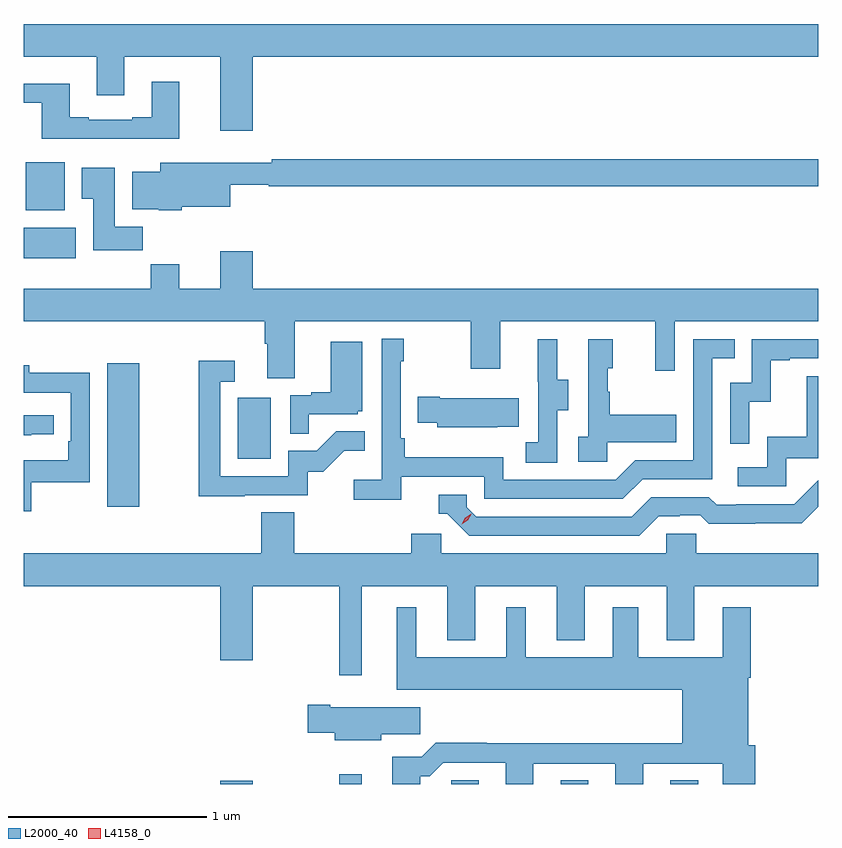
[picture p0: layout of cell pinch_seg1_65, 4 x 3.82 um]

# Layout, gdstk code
import gdstk
lib = gdstk.Library(unit=1e-6, precision=1e-09)
def R(c, l, rs):  # rectangles x0, y0, x1, y1
    for r in rs: c.add(gdstk.rectangle(r[:2], r[2:], *l))
def P(c, l, *ps):  # polygons
    for p in ps: c.add(gdstk.Polygon(p, *l))
L2000_40 = (2000, 40)
L4158_0 = (4158, 0)

pinch_seg1_65 = lib.new_cell('pinch_seg1_65')
R(pinch_seg1_65, L2000_40, [(1040.132,569.384,1040.296,569.401), (1040.731,569.384,1040.845,569.434), (1041.294,569.384,1041.433,569.402), (1041.845,569.384,1041.985,569.402), (1042.397,569.384,1042.537,569.402), (1039.565,570.78,1039.726,571.501), (1040.222,571.02,1040.386,571.327), (1039.143,572.03,1039.405,572.182), (1039.154,572.27,1039.351,572.512)])
P(pinch_seg1_65, L2000_40, [(1040.296,573.044),(1043.143,573.044),(1043.143,573.208),(1039.143,573.208),(1039.143,573.044),(1039.511,573.044),(1039.511,572.85),(1039.651,572.85),(1039.651,573.044),(1040.132,573.044),(1040.132,572.67),(1040.296,572.67)],
  [(1039.927,572.917),(1039.787,572.917),(1039.787,572.74),(1039.691,572.74),(1039.691,572.727),(1039.471,572.727),(1039.471,572.74),(1039.375,572.74),(1039.375,572.908),(1039.143,572.908),(1039.143,572.811),(1039.235,572.811),(1039.235,572.63),(1039.927,572.63)],
  [(1039.938,572.288),(1040.182,572.288),(1040.182,572.4),(1040.378,572.4),(1040.378,572.392),(1043.143,572.392),(1043.143,572.528),(1040.392,572.528),(1040.392,572.509),(1039.832,572.509),(1039.832,572.464),(1039.691,572.464),(1039.691,572.276),(1039.824,572.276),(1039.824,572.27),(1039.938,572.27)],
  [(1039.742,572.188),(1039.603,572.188),(1039.603,572.485),(1039.436,572.485),(1039.436,572.329),(1039.493,572.329),(1039.493,572.07),(1039.742,572.07)],
  [(1040.509,571.712),(1041.394,571.712),(1041.394,571.473),(1041.541,571.473),(1041.541,571.712),(1042.322,571.712),(1042.322,571.464),(1042.419,571.464),(1042.419,571.712),(1043.143,571.712),(1043.143,571.876),(1040.296,571.876),(1040.296,572.065),(1040.132,572.065),(1040.132,571.876),(1039.927,571.876),(1039.927,572),(1039.783,572),(1039.783,571.876),(1039.143,571.876),(1039.143,571.712),(1040.357,571.712),(1040.357,571.6),(1040.369,571.6),(1040.369,571.426),(1040.509,571.426)],
  [(1041.044,570.93),(1041.462,570.93),(1041.462,570.819),(1042.159,570.819),(1042.258,570.918),(1042.608,570.918),(1042.608,571.527),(1042.721,571.527),(1042.721,571.623),(1042.512,571.623),(1042.512,571.014),(1042.221,571.014),(1042.122,570.915),(1041.558,570.915),(1041.558,571.027),(1041.062,571.027),(1041.062,571.123),(1041.042,571.123),(1041.042,571.511),(1041.055,571.511),(1041.055,571.624),(1040.946,571.624),(1040.946,570.916),(1040.805,570.916),(1040.805,570.814),(1041.044,570.814)],
  [(1042.794,571.307),(1042.904,571.307),(1042.904,571.515),(1042.999,571.515),(1042.999,571.527),(1043.143,571.527),(1043.143,571.623),(1042.806,571.623),(1042.806,571.404),(1042.698,571.404),(1042.698,571.095),(1042.794,571.095)],
  [(1042.08,571.103),(1042.427,571.103),(1042.427,571.243),(1042.093,571.243),(1042.093,571.358),(1042.083,571.358),(1042.083,571.476),(1042.108,571.476),(1042.108,571.621),(1041.984,571.621),(1041.984,571.13),(1041.933,571.13),(1041.933,571.005),(1042.08,571.005)],
  [(1041.828,571.264),(1041.883,571.264),(1041.883,571.419),(1041.829,571.419),(1041.829,571.621),(1041.731,571.621),(1041.731,571.407),(1041.732,571.407),(1041.732,571.103),(1041.669,571.103),(1041.669,571),(1041.828,571)],
  [(1040.579,571.245),(1040.826,571.245),(1040.826,571.26),(1040.848,571.26),(1040.848,571.609),(1040.69,571.609),(1040.69,571.354),(1040.591,571.354),(1040.591,571.341),(1040.484,571.341),(1040.484,571.147),(1040.579,571.147)],
  [(1040.255,570.837),(1040.574,570.837),(1040.574,570.954),(1040.65,570.954),(1040.757,571.061),(1040.861,571.061),(1040.861,571.16),(1040.717,571.16),(1040.619,571.062),(1040.475,571.062),(1040.475,570.933),(1040.133,570.933),(1040.133,571.407),(1040.206,571.407),(1040.206,571.513),(1040.025,571.513),(1040.025,570.832),(1040.255,570.832)],
  [(1039.183,570.903),(1039.476,570.903),(1039.476,571.454),(1039.171,571.454),(1039.171,571.492),(1039.143,571.492),(1039.143,571.353),(1039.38,571.353),(1039.38,571.108),(1039.367,571.108),(1039.367,571.012),(1039.143,571.012),(1039.143,570.756),(1039.183,570.756)],
  [(1042.98,571.023),(1043.143,571.023),(1043.143,571.435),(1043.083,571.435),(1043.083,571.132),(1042.884,571.132),(1042.884,570.978),(1042.737,570.978),(1042.737,570.882),(1042.98,570.882)],
  [(1041.527,571.181),(1041.635,571.181),(1041.635,571.324),(1041.238,571.324),(1041.238,571.332),(1041.127,571.332),(1041.127,571.202),(1041.225,571.202),(1041.225,571.178),(1041.527,571.178)],
  [(1039.181,571.143),(1039.294,571.143),(1039.294,571.239),(1039.143,571.239),(1039.143,571.138),(1039.181,571.138)],
  [(1042.339,570.732),(1042.446,570.732),(1042.446,570.735),(1042.549,570.735),(1042.591,570.693),(1042.824,570.693),(1042.824,570.695),(1043.06,570.695),(1043.143,570.778),(1043.143,570.913),(1043.022,570.792),(1042.729,570.792),(1042.729,570.789),(1042.63,570.789),(1042.591,570.828),(1042.302,570.828),(1042.203,570.729),(1041.42,570.729),(1041.372,570.777),(1041.372,570.84),(1041.233,570.84),(1041.233,570.744),(1041.276,570.744),(1041.387,570.633),(1042.24,570.633)],
  [(1041.246,570.642),(1041.095,570.642),(1041.095,570.544),(1040.504,570.544),(1040.504,570.752),(1040.339,570.752),(1040.339,570.544),(1039.143,570.544),(1039.143,570.38),(1040.132,570.38),(1040.132,570.006),(1040.296,570.006),(1040.296,570.38),(1040.731,570.38),(1040.731,569.931),(1040.845,569.931),(1040.845,570.38),(1041.275,570.38),(1041.275,570.107),(1041.415,570.107),(1041.415,570.38),(1041.827,570.38),(1041.827,570.107),(1041.967,570.107),(1041.967,570.38),(1042.379,570.38),(1042.379,570.107),(1042.519,570.107),(1042.519,570.38),(1043.143,570.38),(1043.143,570.544),(1042.527,570.544),(1042.527,570.642),(1042.377,570.642),(1042.377,570.544),(1041.246,570.544)],
  [(1041.139,569.423),(1041.188,569.423),(1041.255,569.49),(1041.569,569.49),(1041.569,569.384),(1041.709,569.384),(1041.709,569.487),(1042.121,569.487),(1042.121,569.384),(1042.261,569.384),(1042.261,569.487),(1042.661,569.487),(1042.661,569.384),(1042.826,569.384),(1042.826,569.58),(1042.789,569.58),(1042.789,569.918),(1042.802,569.918),(1042.802,570.274),(1042.661,570.274),(1042.661,570.022),(1042.237,570.022),(1042.237,570.274),(1042.109,570.274),(1042.109,570.022),(1041.67,570.022),(1041.67,570.274),(1041.572,570.274),(1041.572,570.022),(1041.118,570.022),(1041.118,570.274),(1041.02,570.274),(1041.02,569.858),(1042.457,569.858),(1042.457,569.588),(1041.473,569.588),(1041.473,569.591),(1041.218,569.591),(1041.148,569.521),(1040.999,569.521),(1040.999,569.384),(1041.139,569.384)],
  [(1040.944,569.635),(1041.139,569.635),(1041.139,569.77),(1040.686,569.77),(1040.686,569.783),(1040.574,569.783),(1040.574,569.641),(1040.708,569.641),(1040.708,569.603),(1040.944,569.603)])
P(pinch_seg1_65, L4158_0, [(1041.348,570.692),(1041.348,570.692),(1041.365,570.724),(1041.396,570.743),(1041.396,570.743),(1041.396,570.742),(1041.379,570.71),(1041.349,570.692)])

lib.write_gds('pinch_seg1_65.gds')
